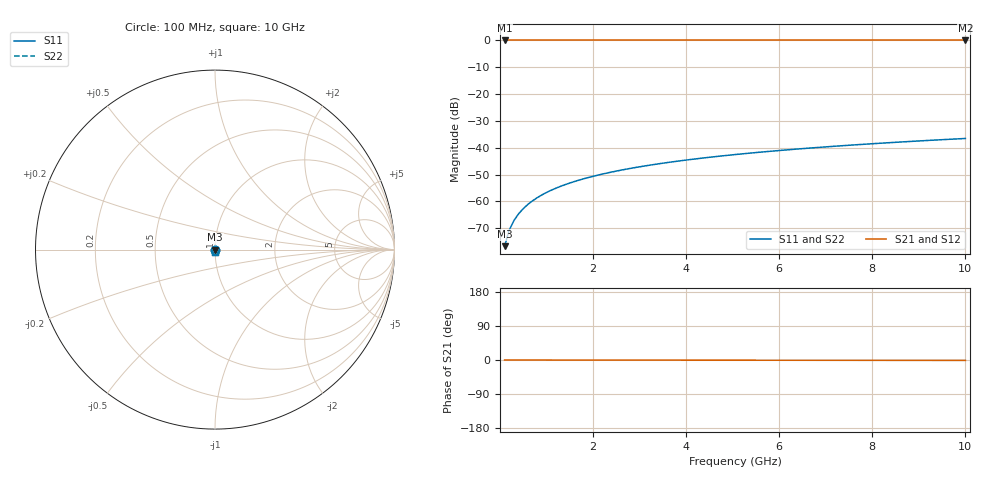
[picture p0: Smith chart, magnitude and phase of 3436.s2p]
# Hz S RI R 50.00
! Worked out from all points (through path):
!   100 points, 100 MHz to 10 GHz, reference 50 ohm
!   highest |S21| = 0.00 dB at 100 MHz (marker M1); lowest = 0.0 dB at 10 GHz (marker M2)
!   lowest |S11| = -76.7 dB at 100 MHz (marker M3), VSWR 1.00, Z = 50 - j0.0147 ohm
!   |S11| at or under -10 dB: start of sweep to end of sweep
!   |S22| runs from -76.7 to -36.5 dB; largest |S21 - S12| = 1e-12
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1e8  3.52e-06 -0.000147  1 -0.000182  1 -0.000182  3.52e-06 -0.000147
2e8  3.31e-06 -0.000293  1 -0.000364  1 -0.000364  3.31e-06 -0.000293
3e8  3.04e-06 -0.00044  1 -0.000546  1 -0.000546  3.04e-06 -0.00044
4e8  2.71e-06 -0.000587  1 -0.000727  1 -0.000727  2.71e-06 -0.000587
5e8  2.33e-06 -0.000734  1 -0.000909  1 -0.000909  2.33e-06 -0.000734
6e8  1.88e-06 -0.00088  1 -0.00109  1 -0.00109  1.88e-06 -0.00088
7e8  1.39e-06 -0.00103  1 -0.00127  1 -0.00127  1.39e-06 -0.00103
8e8  8.4e-07 -0.00117  1 -0.00146  1 -0.00146  8.4e-07 -0.00117
9e8  2.36e-07 -0.00132  1 -0.00164  1 -0.00164  2.36e-07 -0.00132
1.1e9  -1.13e-06 -0.00162  1 -0.002  1 -0.002  -1.13e-06 -0.00162
1.4e9  -3.6e-06 -0.00206  1 -0.00255  1 -0.00255  -3.6e-06 -0.00206
1.8e9  -7.64e-06 -0.00265  1 -0.00328  1 -0.00328  -7.64e-06 -0.00265
2.1e9  -1.12e-05 -0.00309  1 -0.00383  1 -0.00383  -1.12e-05 -0.00309
2.5e9  -1.68e-05 -0.00368  1 -0.00456  1 -0.00456  -1.68e-05 -0.00368
2.9e9  -2.33e-05 -0.00427  1 -0.00529  1 -0.00529  -2.33e-05 -0.00427
3.4e9  -3.26e-05 -0.00501  1 -0.00621  1 -0.00621  -3.26e-05 -0.00501
4.2e9  -5.04e-05 -0.0062  0.9999 -0.00769  0.9999 -0.00769  -5.04e-05 -0.0062
5.1e9  -7.46e-05 -0.00754  0.9999 -0.00935  0.9999 -0.00935  -7.46e-05 -0.00754
5.9e9  -0.0001 -0.00874  0.9999 -0.0108  0.9999 -0.0108  -0.0001 -0.00874
6.7e9  -0.000129 -0.00994  0.9999 -0.0123  0.9999 -0.0123  -0.000129 -0.00994
8.4e9  -0.000203 -0.0125  0.9998 -0.0155  0.9998 -0.0155  -0.000203 -0.0125
1e10  -0.000288 -0.0149  0.9997 -0.0185  0.9997 -0.0185  -0.000288 -0.0149
